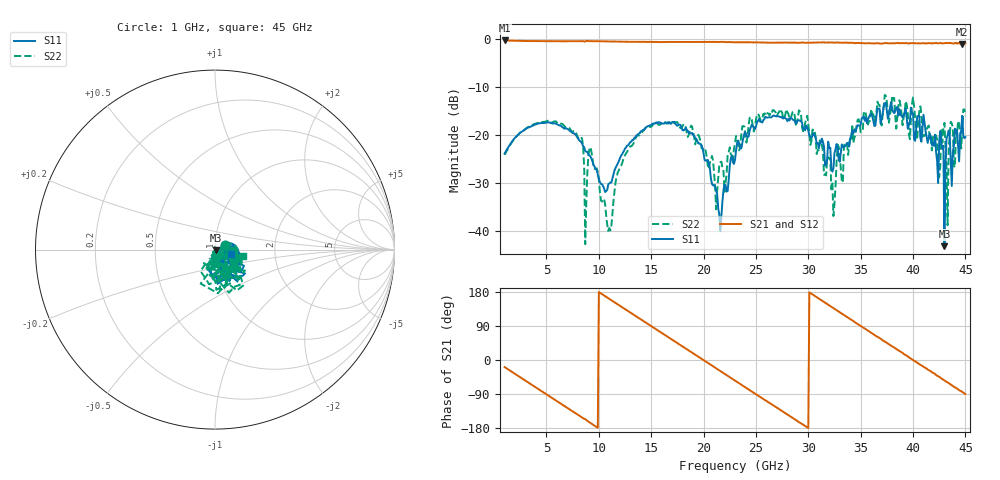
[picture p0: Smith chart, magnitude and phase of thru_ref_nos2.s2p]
!Keysight Technologies,N5247B,MY61255062,A.19.80.06
!Date: Monday, May 18, 2026 13:09:53
!Correction: S11(Cdelta 2-Port  )
!S21(Cdelta 2-Port  )
!S12(Cdelta 2-Port  )
!S22(Cdelta 2-Port  )
!S2P File: Measurements: S11, S21, S12, S22:
# Hz S  dB  R 50
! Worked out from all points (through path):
!   441 points, 1 GHz to 45 GHz, reference 50 ohm
!   highest |S21| = -0.41 dB at 1 GHz (marker M1); lowest = -1.2 dB at 44.7 GHz (marker M2)
!   group delay of S21, straight-line fit = 49.9 ps
!   lowest |S11| = -43.2 dB at 43 GHz (marker M3), VSWR 1.01, Z = 50.5 - j0.494 ohm
!   |S11| at or under -10 dB: start of sweep to end of sweep
!   |S22| runs from -42.8 to -11.7 dB; largest |S21 - S12| = 0.016
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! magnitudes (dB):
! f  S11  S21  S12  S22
! 1 GHz  -23.9  -0.4  -0.4  -24.2
! 5.1 GHz  -17.4  -0.6  -0.6  -17.1
! 8.4 GHz  -21.9  -0.6  -0.5  -20.9
! 8.7 GHz  -23.4  -0.6  -0.6  -42.8
! 9.2 GHz  -24.6  -0.6  -0.5  -22.6
! 11 GHz  -30.1  -0.6  -0.6  -39.4
! 12.6 GHz  -22.6  -0.7  -0.7  -23.9
! 15.7 GHz  -17.4  -0.7  -0.7  -17.9
! 19.7 GHz  -22.0  -0.7  -0.7  -21.3
! 21.2 GHz  -31.7  -0.7  -0.7  -35.5
! 21.6 GHz  -40.1  -0.7  -0.7  -25.7
! 23 GHz  -25.3  -0.8  -0.8  -21.9
! 26.1 GHz  -16.5  -0.9  -0.9  -15.5
! 30.4 GHz  -20.2  -0.9  -0.9  -18.9
! 32.4 GHz  -27.0  -0.9  -0.9  -36.9
! 32.9 GHz  -25.1  -0.8  -0.9  -22.5
! 34.7 GHz  -18.0  -0.9  -0.9  -17.0
! 37.7 GHz  -15.5  -1.0  -1.0  -17.5
! 43 GHz  -43.2  -1.0  -1.0  -17.6
! 43.3 GHz  -20.2  -1.0  -1.0  -38.8
! 44.7 GHz  -16.1  -1.2  -1.1  -19.0
! 45 GHz  -20.5  -1.0  -1.0  -16.0
